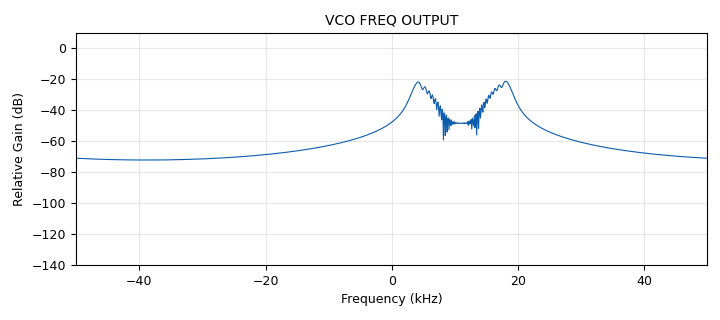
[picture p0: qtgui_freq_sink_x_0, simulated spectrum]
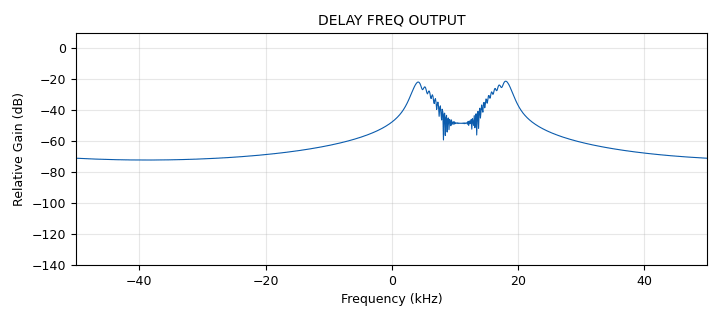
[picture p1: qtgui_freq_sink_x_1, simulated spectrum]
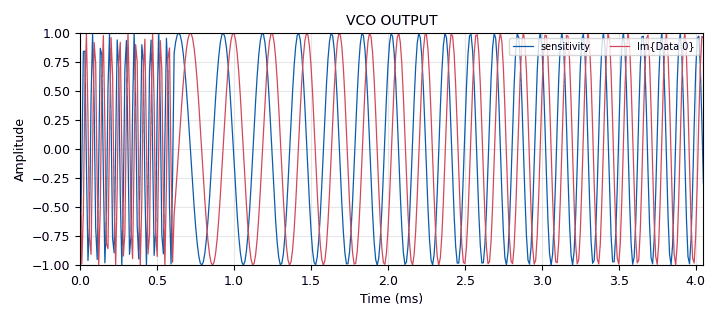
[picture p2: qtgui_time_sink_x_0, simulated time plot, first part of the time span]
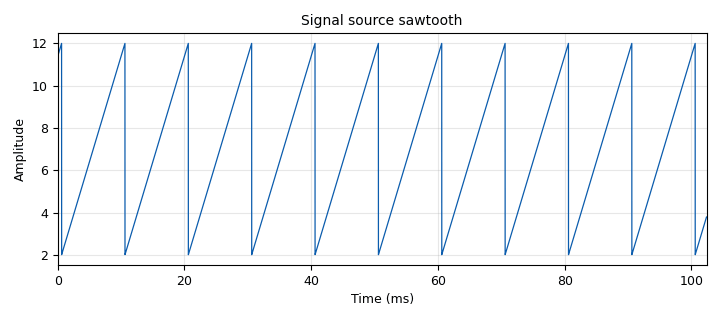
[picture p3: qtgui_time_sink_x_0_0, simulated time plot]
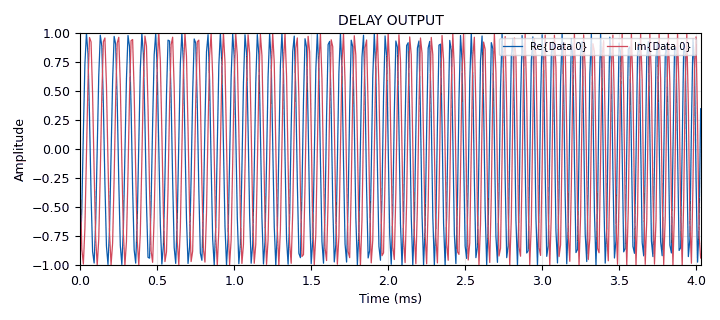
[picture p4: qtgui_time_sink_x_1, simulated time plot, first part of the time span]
options:
  parameters:
    author: Preethi
    generate_options: qt_gui
    id: VCOandDELAY
    output_language: python
    title: Not titled yet
  states: {}

blocks:
- name: samp_rate
  id: variable
  parameters:
    value: '100000'
  states: {}
- name: analog_sig_source_x_0
  id: analog_sig_source_x
  parameters:
    amp: '10'
    freq: '100'
    offset: '2'
    phase: '0'
    samp_rate: samp_rate
    type: float
    waveform: analog.GR_SAW_WAVE
  states: {}
- name: blocks_delay_0
  id: blocks_delay
  parameters:
    delay: '20000'
    type: complex
  states: {}
- name: blocks_throttle2_0
  id: blocks_throttle2
  parameters:
    samples_per_second: samp_rate
    type: float
  states: {}
- name: blocks_vco_c_0
  id: blocks_vco_c
  parameters:
    amplitude: '1'
    samp_rate: samp_rate
    sensitivity: '10000'
  states: {}
- name: qtgui_freq_sink_x_0
  id: qtgui_freq_sink_x
  parameters:
    bw: samp_rate
    fc: '0'
    fftsize: '1024'
    name: '"VCO FREQ OUTPUT"'
    type: complex
  states: {}
- name: qtgui_freq_sink_x_1
  id: qtgui_freq_sink_x
  parameters:
    bw: samp_rate
    fc: '0'
    fftsize: '1024'
    name: '"DELAY FREQ OUTPUT"'
    type: complex
  states: {}
- name: qtgui_time_sink_x_0
  id: qtgui_time_sink_x
  parameters:
    label1: sensitivity
    name: '"VCO OUTPUT"'
    size: '10240'
    srate: samp_rate
    type: complex
  states: {}
- name: qtgui_time_sink_x_0_0
  id: qtgui_time_sink_x
  parameters:
    autoscale: 'True'
    name: '"Signal source sawtooth"'
    size: '10240'
    srate: samp_rate
    type: float
  states: {}
- name: qtgui_time_sink_x_1
  id: qtgui_time_sink_x
  parameters:
    name: '"DELAY OUTPUT"'
    size: '1024'
    srate: samp_rate
    type: complex
  states: {}

connections:
- [analog_sig_source_x_0, '0', blocks_throttle2_0, '0']
- [analog_sig_source_x_0, '0', qtgui_time_sink_x_0_0, '0']
- [blocks_delay_0, '0', qtgui_freq_sink_x_1, '0']
- [blocks_delay_0, '0', qtgui_time_sink_x_1, '0']
- [blocks_throttle2_0, '0', blocks_vco_c_0, '0']
- [blocks_vco_c_0, '0', blocks_delay_0, '0']
- [blocks_vco_c_0, '0', qtgui_freq_sink_x_0, '0']
- [blocks_vco_c_0, '0', qtgui_time_sink_x_0, '0']

metadata:
  file_format: 1
  grc_version: 3.10.12.0
